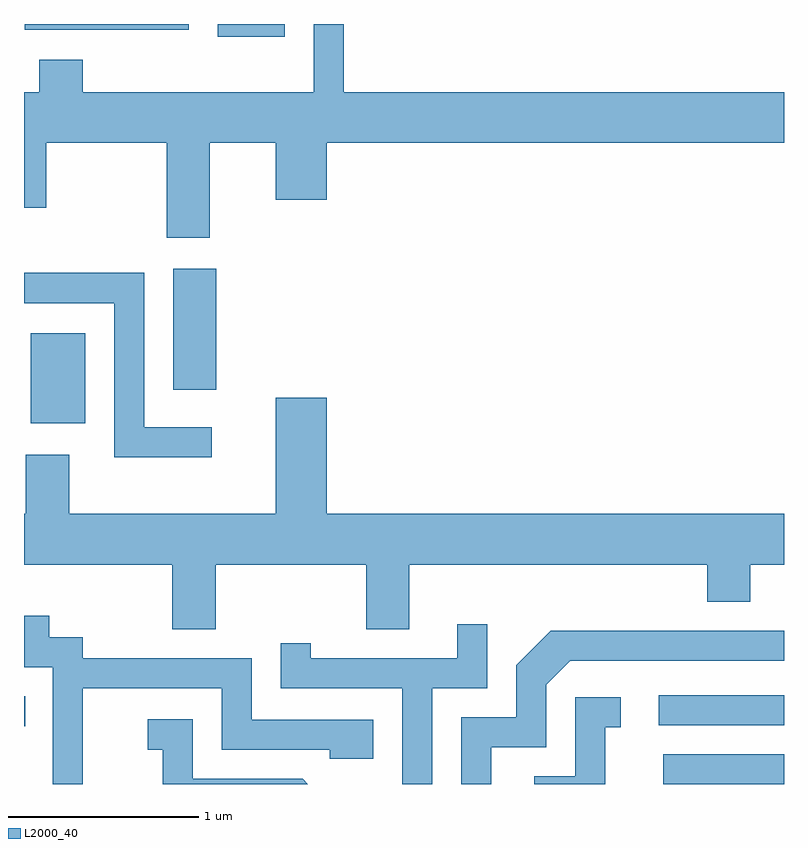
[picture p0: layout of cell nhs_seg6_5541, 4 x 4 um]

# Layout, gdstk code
import gdstk
lib = gdstk.Library(unit=1e-6, precision=1e-09)
def R(c, l, rs):  # rectangles x0, y0, x1, y1
    for r in rs: c.add(gdstk.rectangle(r[:2], r[2:], *l))
def P(c, l, *ps):  # polygons
    for p in ps: c.add(gdstk.Polygon(p, *l))
L2000_40 = (2000, 40)

nhs_seg6_5541 = lib.new_cell('nhs_seg6_5541')
R(nhs_seg6_5541, L2000_40, [(356.976,1602.162,357.611,1602.319), (353.611,1602.466,353.618,1602.624), (356.953,1602.471,357.611,1602.629), (353.646,1604.061,353.934,1604.534), (354.396,1604.236,354.624,1604.874), (354.631,1606.096,354.984,1606.162), (353.616,1606.131,354.478,1606.162)])
P(nhs_seg6_5541, L2000_40, [(354.589,1605.536),(354.936,1605.536),(354.936,1605.236),(355.204,1605.236),(355.204,1605.536),(357.611,1605.536),(357.611,1605.804),(355.294,1605.804),(355.294,1606.162),(355.136,1606.162),(355.136,1605.804),(353.919,1605.804),(353.919,1605.974),(353.691,1605.974),(353.691,1605.804),(353.611,1605.804),(353.611,1605.196),(353.729,1605.196),(353.729,1605.536),(354.361,1605.536),(354.361,1605.036),(354.589,1605.036)],
  [(354.598,1604.039),(354.244,1604.039),(354.244,1604.854),(353.611,1604.854),(353.611,1604.691),(354.086,1604.691),(354.086,1603.881),(354.598,1603.881)],
  [(354.619,1603.316),(355.411,1603.316),(355.411,1602.976),(355.639,1602.976),(355.639,1603.316),(357.206,1603.316),(357.206,1603.121),(357.434,1603.121),(357.434,1603.316),(357.611,1603.316),(357.611,1603.584),(355.204,1603.584),(355.204,1604.194),(354.936,1604.194),(354.936,1603.584),(353.849,1603.584),(353.849,1603.894),(353.621,1603.894),(353.621,1603.584),(353.611,1603.584),(353.611,1603.316),(354.391,1603.316),(354.391,1602.976),(354.619,1602.976)],
  [(353.919,1602.666),(354.651,1602.666),(354.651,1602.341),(355.221,1602.341),(355.221,1602.296),(355.449,1602.296),(355.449,1602.499),(354.809,1602.499),(354.809,1602.824),(353.919,1602.824),(353.919,1602.934),(353.744,1602.934),(353.744,1603.048),(353.611,1603.048),(353.611,1602.776),(353.761,1602.776),(353.761,1602.162),(353.919,1602.162)],
  [(355.759,1602.666),(356.049,1602.666),(356.049,1603.003),(355.891,1603.003),(355.891,1602.824),(355.119,1602.824),(355.119,1602.903),(354.961,1602.903),(354.961,1602.666),(355.601,1602.666),(355.601,1602.162),(355.759,1602.162)],
  [(356.069,1602.356),(356.359,1602.356),(356.359,1602.684),(356.487,1602.811),(357.611,1602.811),(357.611,1602.969),(356.384,1602.969),(356.201,1602.787),(356.201,1602.514),(355.911,1602.514),(355.911,1602.162),(356.069,1602.162)],
  [(356.669,1602.461),(356.753,1602.461),(356.753,1602.619),(356.511,1602.619),(356.511,1602.204),(356.296,1602.204),(356.296,1602.162),(356.669,1602.162)],
  [(355.077,1602.189),(354.499,1602.189),(354.499,1602.504),(354.263,1602.504),(354.263,1602.341),(354.341,1602.341),(354.341,1602.162),(355.104,1602.162)])

lib.write_gds('nhs_seg6_5541.gds')
